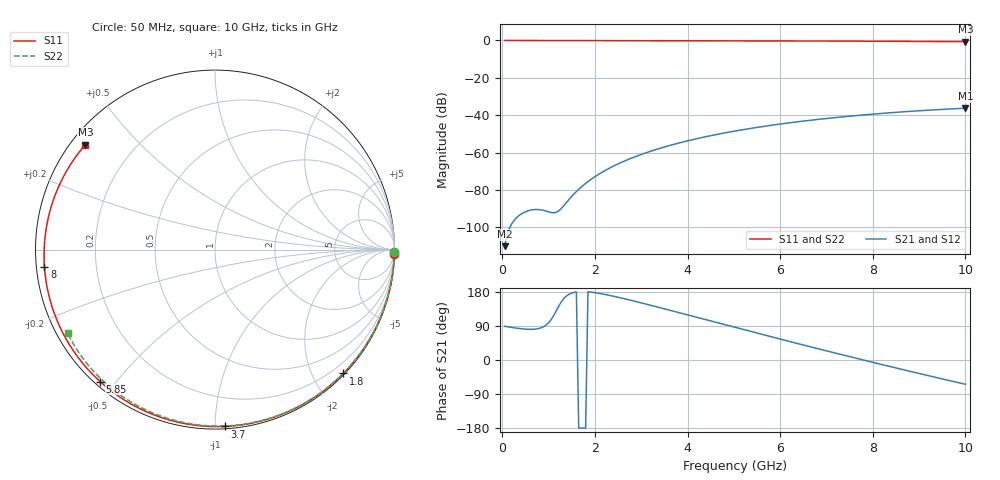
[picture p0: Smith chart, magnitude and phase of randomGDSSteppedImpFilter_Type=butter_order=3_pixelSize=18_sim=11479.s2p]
! freq	dB(S11)	phase(S11)	dB(S12)	phase(S12)
!  dB(S21)	phase(S21)	dB(S22)	phase(S22)
!S-par simulation data
#  GHz  S  DB  R 50
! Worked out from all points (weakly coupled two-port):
!   200 points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, 50 MHz to 10 GHz, reference 50 ohm
!   highest |S21| = -36.25 dB at 10 GHz (marker M1); lowest = -110.0 dB at 50 MHz (marker M2)
!   lowest |S11| = -0.6 dB at 10 GHz (marker M3), VSWR 27.29, Z = 2.06 + j17.7 ohm
!   |S11| at or under -10 dB: nowhere
!   |S22| runs from -0.5 to 0.0 dB; largest |S21 - S12| = 0
!   S11 on the Smith chart (normalised r, x): 50 MHz: 0, -91; 1.8 GHz: 0.02, -2.48; 3.7 GHz: 0.01, -1.06; 5.85 GHz: 0.02, -0.46; 8 GHz: 0.02, -0.05; 10 GHz: 0.04, +0.35
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0.05  -0.00 -1.3  -110.05 89.0  -110.05 89.0  -0.00 -0.9
0.4  -0.01 -9.9  -92.97 82.6  -92.97 82.6  -0.01 -7.0
0.8  -0.03 -19.8  -90.52 83.5  -90.52 83.5  -0.02 -13.9
1.6  -0.05 -39.2  -80.81 179.6  -80.81 179.6  -0.03 -27.6
1.65  -0.05 -40.4  -79.63 -179.7  -79.63 -179.7  -0.04 -28.4
1.75  -0.05 -42.8  -77.46 -179.4  -77.46 -179.4  -0.04 -30.1
1.8  -0.06 -44.0  -76.45 -179.6  -76.45 -179.6  -0.04 -31.0
2.1  -0.06 -51.0  -71.31 175.7  -71.31 175.7  -0.05 -36.0
2.5  -0.08 -60.3  -66.05 165.6  -66.05 165.6  -0.05 -42.6
2.9  -0.09 -69.3  -61.90 153.8  -61.90 153.8  -0.06 -49.1
3.4  -0.11 -80.4  -57.72 138.2  -57.72 138.2  -0.08 -57.2
3.7  -0.12 -86.8  -55.60 128.7  -55.60 128.7  -0.08 -61.9
4.35  -0.14 -100.6  -51.72 107.7  -51.72 107.7  -0.10 -71.9
5.05  -0.17 -115.0  -48.35 85.2  -48.35 85.2  -0.13 -82.4
5.85  -0.22 -131.0  -45.23 59.8  -45.23 59.8  -0.16 -94.1
6.7  -0.28 -147.9  -42.56 33.3  -42.56 33.3  -0.21 -106.0
7.35  -0.34 -160.9  -40.86 13.4  -40.86 13.4  -0.25 -115.0
8  -0.40 -174.2  -39.41 -6.2  -39.41 -6.2  -0.30 -123.7
8.35  -0.44 178.4  -38.72 -16.6  -38.72 -16.6  -0.33 -128.4
8.8  -0.49 168.7  -37.93 -29.8  -37.93 -29.8  -0.37 -134.4
9.2  -0.54 159.8  -37.30 -41.4  -37.30 -41.4  -0.41 -139.8
10  -0.64 141.0  -36.25 -64.0  -36.25 -64.0  -0.50 -150.5
